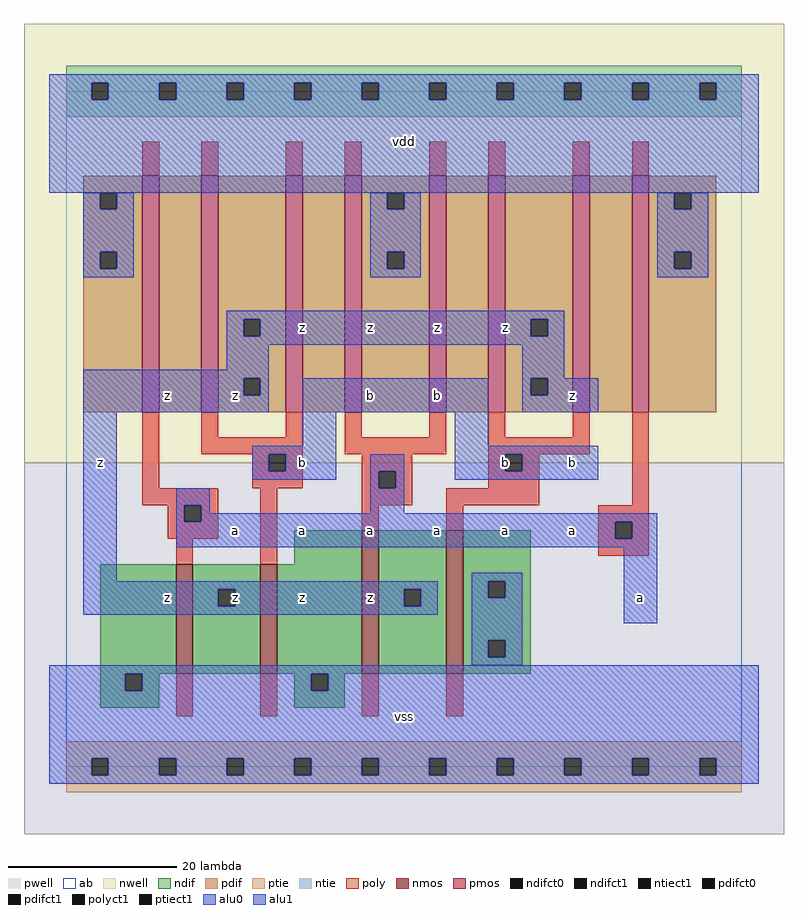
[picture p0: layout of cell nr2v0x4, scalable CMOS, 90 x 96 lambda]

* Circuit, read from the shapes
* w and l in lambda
.subckt nr2v0x4 a b vdd vss z
M1 z a vss vss nfet w=13 l=2
M2 vss b z vss nfet w=13 l=2
M3 z a vss vss nfet w=17 l=2
M4 vss b z vss nfet w=17 l=2
M5 n1 a vdd vdd pfet w=28 l=2
M6 z b n1 vdd pfet w=28 l=2
M7 n2 b z vdd pfet w=28 l=2
M8 vdd a n2 vdd pfet w=28 l=2
M9 n3 a vdd vdd pfet w=28 l=2
M10 z b n3 vdd pfet w=28 l=2
M11 n4 b z vdd pfet w=28 l=2
M12 vdd a n4 vdd pfet w=28 l=2
.ends

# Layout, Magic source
magic
tech scmos
<< ab >>
rect 0 0 80 80
<< nwell >>
rect -5 36 85 88
<< pwell >>
rect -5 -8 85 36
<< poly >>
rect 9 70 11 74
rect 16 70 18 74
rect 26 70 28 74
rect 33 70 35 74
rect 43 70 45 74
rect 50 70 52 74
rect 60 70 62 74
rect 67 70 69 74
rect 9 33 11 42
rect 16 39 18 42
rect 26 39 28 42
rect 16 37 28 39
rect 33 39 35 42
rect 43 39 45 42
rect 33 37 45 39
rect 50 39 52 42
rect 60 39 62 42
rect 50 37 62 39
rect 22 35 24 37
rect 26 35 28 37
rect 22 33 28 35
rect 35 35 41 37
rect 35 33 37 35
rect 39 33 41 35
rect 50 35 52 37
rect 54 35 56 37
rect 50 33 56 35
rect 9 31 18 33
rect 12 29 14 31
rect 16 29 18 31
rect 12 27 18 29
rect 13 24 15 27
rect 23 24 25 33
rect 35 31 41 33
rect 45 31 56 33
rect 67 31 69 42
rect 35 28 37 31
rect 45 28 47 31
rect 63 29 69 31
rect 63 27 65 29
rect 67 27 69 29
rect 63 25 69 27
rect 13 6 15 11
rect 23 6 25 11
rect 35 6 37 11
rect 45 6 47 11
<< ndif >>
rect 27 24 35 28
rect 4 11 13 24
rect 15 21 23 24
rect 15 19 18 21
rect 20 19 23 21
rect 15 11 23 19
rect 25 11 35 24
rect 37 21 45 28
rect 37 19 40 21
rect 42 19 45 21
rect 37 11 45 19
rect 47 22 55 28
rect 47 20 50 22
rect 52 20 55 22
rect 47 15 55 20
rect 47 13 50 15
rect 52 13 55 15
rect 47 11 55 13
rect 4 9 7 11
rect 9 9 11 11
rect 4 7 11 9
rect 27 9 29 11
rect 31 9 33 11
rect 27 7 33 9
<< pdif >>
rect 2 68 9 70
rect 2 66 4 68
rect 6 66 9 68
rect 2 61 9 66
rect 2 59 4 61
rect 6 59 9 61
rect 2 42 9 59
rect 11 42 16 70
rect 18 53 26 70
rect 18 51 21 53
rect 23 51 26 53
rect 18 46 26 51
rect 18 44 21 46
rect 23 44 26 46
rect 18 42 26 44
rect 28 42 33 70
rect 35 68 43 70
rect 35 66 38 68
rect 40 66 43 68
rect 35 61 43 66
rect 35 59 38 61
rect 40 59 43 61
rect 35 42 43 59
rect 45 42 50 70
rect 52 53 60 70
rect 52 51 55 53
rect 57 51 60 53
rect 52 46 60 51
rect 52 44 55 46
rect 57 44 60 46
rect 52 42 60 44
rect 62 42 67 70
rect 69 68 77 70
rect 69 66 72 68
rect 74 66 77 68
rect 69 61 77 66
rect 69 59 72 61
rect 74 59 77 61
rect 69 42 77 59
<< alu1 >>
rect -2 81 82 82
rect -2 79 3 81
rect 5 79 11 81
rect 13 79 19 81
rect 21 79 27 81
rect 29 79 35 81
rect 37 79 43 81
rect 45 79 51 81
rect 53 79 59 81
rect 61 79 67 81
rect 69 79 75 81
rect 77 79 82 81
rect -2 68 82 79
rect 19 53 59 54
rect 19 51 21 53
rect 23 51 55 53
rect 57 51 59 53
rect 19 50 59 51
rect 19 47 24 50
rect 2 46 24 47
rect 54 46 59 50
rect 2 44 21 46
rect 23 44 24 46
rect 2 42 24 44
rect 28 42 50 46
rect 54 44 55 46
rect 57 44 63 46
rect 54 42 63 44
rect 2 22 6 42
rect 28 38 32 42
rect 22 37 32 38
rect 46 38 50 42
rect 46 37 63 38
rect 22 35 24 37
rect 26 35 32 37
rect 22 34 32 35
rect 36 35 40 37
rect 36 33 37 35
rect 39 33 40 35
rect 46 35 52 37
rect 54 35 63 37
rect 46 34 63 35
rect 13 31 17 33
rect 13 29 14 31
rect 16 30 17 31
rect 36 30 40 33
rect 16 29 70 30
rect 13 27 65 29
rect 67 27 70 29
rect 13 26 70 27
rect 2 21 44 22
rect 2 19 18 21
rect 20 19 40 21
rect 42 19 44 21
rect 2 18 44 19
rect 66 17 70 26
rect -2 11 82 12
rect -2 9 7 11
rect 9 9 29 11
rect 31 9 82 11
rect -2 1 82 9
rect -2 -1 3 1
rect 5 -1 11 1
rect 13 -1 19 1
rect 21 -1 27 1
rect 29 -1 35 1
rect 37 -1 43 1
rect 45 -1 51 1
rect 53 -1 59 1
rect 61 -1 67 1
rect 69 -1 75 1
rect 77 -1 82 1
rect -2 -2 82 -1
<< ptie >>
rect 0 1 80 3
rect 0 -1 3 1
rect 5 -1 11 1
rect 13 -1 19 1
rect 21 -1 27 1
rect 29 -1 35 1
rect 37 -1 43 1
rect 45 -1 51 1
rect 53 -1 59 1
rect 61 -1 67 1
rect 69 -1 75 1
rect 77 -1 80 1
rect 0 -3 80 -1
<< ntie >>
rect 0 81 80 83
rect 0 79 3 81
rect 5 79 11 81
rect 13 79 19 81
rect 21 79 27 81
rect 29 79 35 81
rect 37 79 43 81
rect 45 79 51 81
rect 53 79 59 81
rect 61 79 67 81
rect 69 79 75 81
rect 77 79 80 81
rect 0 77 80 79
<< nmos >>
rect 13 11 15 24
rect 23 11 25 24
rect 35 11 37 28
rect 45 11 47 28
<< pmos >>
rect 9 42 11 70
rect 16 42 18 70
rect 26 42 28 70
rect 33 42 35 70
rect 43 42 45 70
rect 50 42 52 70
rect 60 42 62 70
rect 67 42 69 70
<< polyct1 >>
rect 24 35 26 37
rect 37 33 39 35
rect 52 35 54 37
rect 14 29 16 31
rect 65 27 67 29
<< ndifct0 >>
rect 50 20 52 22
rect 50 13 52 15
<< ndifct1 >>
rect 18 19 20 21
rect 40 19 42 21
rect 7 9 9 11
rect 29 9 31 11
<< ntiect1 >>
rect 3 79 5 81
rect 11 79 13 81
rect 19 79 21 81
rect 27 79 29 81
rect 35 79 37 81
rect 43 79 45 81
rect 51 79 53 81
rect 59 79 61 81
rect 67 79 69 81
rect 75 79 77 81
<< ptiect1 >>
rect 3 -1 5 1
rect 11 -1 13 1
rect 19 -1 21 1
rect 27 -1 29 1
rect 35 -1 37 1
rect 43 -1 45 1
rect 51 -1 53 1
rect 59 -1 61 1
rect 67 -1 69 1
rect 75 -1 77 1
<< pdifct0 >>
rect 4 66 6 68
rect 4 59 6 61
rect 38 66 40 68
rect 38 59 40 61
rect 72 66 74 68
rect 72 59 74 61
<< pdifct1 >>
rect 21 51 23 53
rect 21 44 23 46
rect 55 51 57 53
rect 55 44 57 46
<< alu0 >>
rect 2 66 4 68
rect 6 66 8 68
rect 2 61 8 66
rect 2 59 4 61
rect 6 59 8 61
rect 2 58 8 59
rect 36 66 38 68
rect 40 66 42 68
rect 36 61 42 66
rect 36 59 38 61
rect 40 59 42 61
rect 36 58 42 59
rect 70 66 72 68
rect 74 66 76 68
rect 70 61 76 66
rect 70 59 72 61
rect 74 59 76 61
rect 70 58 76 59
rect 48 22 54 23
rect 48 20 50 22
rect 52 20 54 22
rect 48 15 54 20
rect 48 13 50 15
rect 52 13 54 15
rect 48 12 54 13
<< labels >>
rlabel alu1 4 36 4 36 6 z
rlabel alu1 12 20 12 20 6 z
rlabel alu1 20 20 20 20 6 z
rlabel alu1 20 28 20 28 6 a
rlabel alu1 28 20 28 20 6 z
rlabel alu1 28 28 28 28 6 a
rlabel alu1 12 44 12 44 6 z
rlabel alu1 20 44 20 44 6 z
rlabel alu1 28 36 28 36 6 b
rlabel alu1 28 52 28 52 6 z
rlabel alu1 40 6 40 6 6 vss
rlabel alu1 36 20 36 20 6 z
rlabel alu1 36 28 36 28 6 a
rlabel alu1 44 28 44 28 6 a
rlabel alu1 36 44 36 44 6 b
rlabel alu1 44 44 44 44 6 b
rlabel alu1 36 52 36 52 6 z
rlabel alu1 44 52 44 52 6 z
rlabel alu1 40 74 40 74 6 vdd
rlabel alu1 52 28 52 28 6 a
rlabel alu1 60 28 60 28 6 a
rlabel alu1 52 36 52 36 6 b
rlabel alu1 60 36 60 36 6 b
rlabel alu1 60 44 60 44 6 z
rlabel alu1 52 52 52 52 6 z
rlabel alu1 68 20 68 20 6 a
<< end >>
